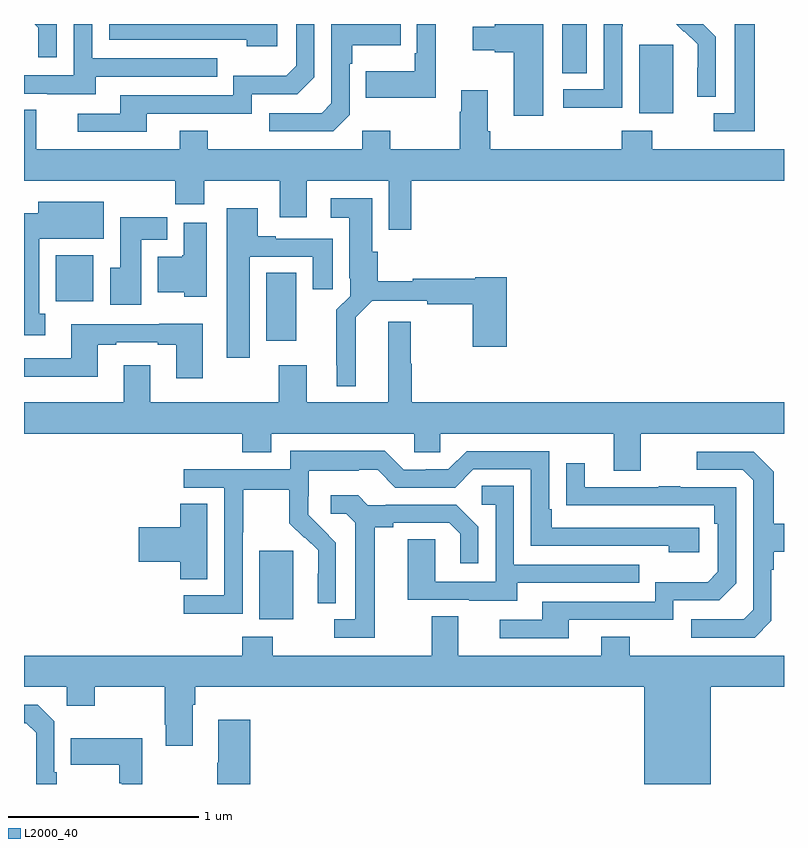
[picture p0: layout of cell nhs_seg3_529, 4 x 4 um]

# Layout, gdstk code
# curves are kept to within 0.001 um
import gdstk
lib = gdstk.Library(unit=1e-6, precision=1e-09)
def R(c, l, rs):  # rectangles x0, y0, x1, y1
    for r in rs: c.add(gdstk.rectangle(r[:2], r[2:], *l))
def P(c, l, *ps):  # polygons
    for p in ps: c.add(gdstk.Polygon(p, *l))
L2000_40 = (2000, 40)

nhs_seg3_529 = lib.new_cell('nhs_seg3_529')
R(nhs_seg3_529, L2000_40, [(138.239,705.266,138.418,705.627), (138.275,706.734,138.433,707.09), (137.168,706.94,137.365,707.182), (140.237,707.93,140.416,708.291), (139.832,708.142,139.963,708.4)])
P(nhs_seg3_529, L2000_40, [(139.166,708.4),(139.068,708.4),(139.068,708.247),(139.056,708.247),(139.056,708.151),(138.799,708.151),(138.799,708.011),(139.166,708.011)],
  [(140.845,708.4),(140.741,708.4),(140.741,707.931),(140.631,707.931),(140.631,707.835),(140.845,707.835)],
  [(138.714,707.922),(138.714,708.191),(138.727,708.191),(138.727,708.287),(138.983,708.287),(138.983,708.4),(138.618,708.4),(138.618,707.982),(138.567,707.931),(138.291,707.931),(138.291,707.835),(138.627,707.835)],
  [(137.377,708.123),(138.017,708.123),(138.017,708.219),(137.358,708.219),(137.358,708.4),(137.262,708.4),(137.262,708.129),(137,708.129),(137,708.033),(137.123,708.033),(137.123,708.029),(137.377,708.029)],
  [(138.334,708.4),(137.448,708.4),(137.448,708.318),(138.173,708.318),(138.173,708.284),(138.334,708.284)],
  [(137.172,708.4),(137.056,708.4),(137.075,708.381),(137.075,708.225),(137.172,708.225)],
  [(137.647,707.928),(138.198,707.928),(138.198,708.03),(138.438,708.03),(138.528,708.12),(138.528,708.4),(138.432,708.4),(138.432,708.18),(138.379,708.127),(138.102,708.127),(138.102,708.024),(137.507,708.024),(137.507,707.928),(137.283,707.928),(137.283,707.832),(137.647,707.832)],
  [(139.732,708.4),(139.577,708.4),(139.577,708.398),(139.478,708.398),(139.478,708.385),(139.362,708.385),(139.362,708.263),(139.478,708.263),(139.478,708.251),(139.577,708.251),(139.577,707.916),(139.732,707.916)],
  [(140.148,708.388),(140.151,708.388),(140.151,708.4),(140.052,708.4),(140.052,708.057),(139.839,708.057),(139.839,707.959),(140.148,707.959)],
  [(140.64,708.334),(140.574,708.4),(140.432,708.4),(140.472,708.36),(140.475,708.363),(140.546,708.293),(140.546,708.17),(140.544,708.17),(140.544,708.016),(140.64,708.016)],
  [(139.037,707.576),(141,707.576),(141,707.74),(140.307,707.74),(140.307,707.839),(140.147,707.839),(140.147,707.74),(139.454,707.74),(139.454,707.836),(139.441,707.836),(139.441,708.052),(139.301,708.052),(139.301,707.939),(139.294,707.939),(139.294,707.74),(138.927,707.74),(138.927,707.839),(138.78,707.839),(138.78,707.74),(137.967,707.74),(137.967,707.839),(137.819,707.839),(137.819,707.74),(137.065,707.74),(137.065,707.948),(137,707.948),(137,707.576),(137.797,707.576),(137.797,707.452),(137.949,707.452),(137.949,707.576),(138.347,707.576),(138.347,707.382),(138.487,707.382),(138.487,707.576),(138.921,707.576),(138.921,707.316),(139.037,707.316)],
  [(138.745,706.856),(138.832,706.944),(139.123,706.944),(139.123,706.924),(139.363,706.924),(139.363,706.701),(139.541,706.701),(139.541,707.068),(139.374,707.068),(139.374,707.06),(139.046,707.06),(139.046,707.045),(138.863,707.045),(138.863,707.202),(138.832,707.202),(138.832,707.482),(138.615,707.482),(138.615,707.381),(138.713,707.381),(138.713,707.062),(138.717,707.062),(138.717,706.968),(138.644,706.895),(138.644,706.603),(138.647,706.603),(138.647,706.493),(138.745,706.493)],
  [(137.113,706.874),(137.08,706.874),(137.08,707.27),(137.419,707.27),(137.419,707.464),(137.075,707.464),(137.075,707.404),(137,707.404),(137,706.761),(137.113,706.761)],
  [(138.187,707.175),(138.521,707.175),(138.521,707.004),(138.625,707.004),(138.625,707.271),(138.325,707.271),(138.325,707.284),(138.229,707.284),(138.229,707.431),(138.068,707.431),(138.068,706.644),(138.187,706.644)],
  [(137.617,707.264),(137.755,707.264),(137.755,707.382),(137.507,707.382),(137.507,707.116),(137.453,707.116),(137.453,706.923),(137.617,706.923)],
  [(137.962,707.353),(137.84,707.353),(137.84,707.182),(137.834,707.182),(137.834,707.176),(137.705,707.176),(137.705,706.988),(137.844,706.988),(137.844,706.964),(137.962,706.964)],
  [(140.245,706.244),(141,706.244),(141,706.408),(139.04,706.408),(139.04,706.613),(139.035,706.613),(139.035,706.834),(138.917,706.834),(138.917,706.408),(138.487,706.408),(138.487,706.603),(138.34,706.603),(138.34,706.408),(137.665,706.408),(137.665,706.603),(137.525,706.603),(137.525,706.408),(137,706.408),(137,706.244),(138.149,706.244),(138.149,706.145),(138.301,706.145),(138.301,706.244),(139.053,706.244),(139.053,706.146),(139.191,706.146),(139.191,706.244),(140.105,706.244),(140.105,706.05),(140.245,706.05)],
  [(137.941,706.822),(137.713,706.822),(137.713,706.821),(137.249,706.821),(137.249,706.641),(137,706.641),(137,706.544),(137.389,706.544),(137.389,706.713),(137.485,706.713),(137.485,706.725),(137.705,706.725),(137.705,706.713),(137.801,706.713),(137.801,706.536),(137.941,706.536)],
  [(138.15,705.724),(138.153,705.724),(138.153,705.948),(138.397,705.948),(138.397,705.773),(138.474,705.696),(138.477,705.699),(138.548,705.629),(138.548,705.506),(138.546,705.506),(138.546,705.352),(138.642,705.352),(138.642,705.67),(138.496,705.818),(138.496,705.915),(138.498,705.915),(138.498,706.049),(138.761,706.049),(138.761,706.053),(138.861,706.053),(138.954,705.96),(139.269,705.96),(139.365,706.056),(139.668,706.056),(139.668,705.654),(140.393,705.654),(140.393,705.62),(140.554,705.62),(140.554,705.75),(139.777,705.75),(139.777,705.847),(139.764,705.847),(139.764,706.152),(139.329,706.152),(139.233,706.056),(139.115,706.056),(139.115,706.053),(138.999,706.053),(138.899,706.153),(138.402,706.153),(138.402,706.056),(137.841,706.056),(137.841,705.96),(138.054,705.96),(138.054,705.393),(137.841,705.393),(137.841,705.295),(138.15,705.295)],
  [(140.934,705.258),(140.934,705.527),(140.947,705.527),(140.947,705.623),(141,705.623),(141,705.771),(140.947,705.771),(140.947,706.043),(140.841,706.149),(140.541,706.149),(140.541,706.053),(140.784,706.053),(140.838,705.999),(140.838,705.318),(140.787,705.267),(140.511,705.267),(140.511,705.171),(140.847,705.171)],
  [(139.867,705.264),(140.418,705.264),(140.418,705.366),(140.658,705.366),(140.748,705.456),(140.748,705.963),(140.453,705.963),(140.453,705.968),(140.341,705.968),(140.341,705.963),(139.951,705.963),(139.951,706.087),(139.855,706.087),(139.855,705.868),(140.632,705.867),(140.632,705.77),(140.652,705.77),(140.652,705.516),(140.599,705.463),(140.322,705.463),(140.322,705.36),(139.727,705.36),(139.727,705.264),(139.503,705.264),(139.503,705.168),(139.867,705.168)],
  [(139.597,705.459),(140.237,705.459),(140.237,705.555),(139.578,705.555),(139.578,705.971),(139.41,705.971),(139.41,705.87),(139.482,705.87),(139.482,705.465),(139.164,705.465),(139.164,705.689),(139.019,705.689),(139.019,705.369),(139.343,705.369),(139.343,705.365),(139.597,705.365)],
  [(138.847,705.752),(138.943,705.752),(138.943,705.774),(139.238,705.774),(139.295,705.717),(139.295,705.561),(139.392,705.561),(139.392,705.754),(139.276,705.87),(138.904,705.87),(138.904,705.867),(138.81,705.867),(138.758,705.919),(138.615,705.919),(138.615,705.822),(138.696,705.822),(138.743,705.775),(138.743,705.267),(138.633,705.267),(138.633,705.171),(138.847,705.171)],
  [(137.965,705.875),(137.822,705.875),(137.822,705.752),(137.604,705.752),(137.604,705.569),(137.822,705.569),(137.822,705.478),(137.965,705.478)],
  [(140.614,704.912),(141,704.912),(141,705.076),(140.187,705.076),(140.187,705.175),(140.039,705.175),(140.039,705.076),(139.285,705.076),(139.285,705.284),(139.145,705.284),(139.145,705.076),(138.309,705.076),(138.309,705.175),(138.149,705.175),(138.149,705.076),(137,705.076),(137,704.912),(137.226,704.912),(137.226,704.813),(137.373,704.813),(137.373,704.912),(137.74,704.912),(137.74,704.713),(137.747,704.713),(137.747,704.601),(137.887,704.601),(137.887,704.816),(137.9,704.816),(137.9,704.912),(140.264,704.912),(140.264,704.4),(140.614,704.4)],
  [(137.173,704.461),(137.16,704.461),(137.16,704.73),(137.073,704.817),(137,704.817),(137,704.721),(137.013,704.721),(137.064,704.67),(137.064,704.4),(137.173,704.4)],
  [(138.191,704.737),(138.023,704.737),(138.023,704.513),(138.016,704.513),(138.016,704.4),(138.191,704.4)],
  [(137.623,704.641),(137.245,704.641),(137.245,704.501),(137.502,704.501),(137.502,704.405),(137.514,704.405),(137.514,704.4),(137.623,704.4)])

lib.write_gds('nhs_seg3_529.gds')
